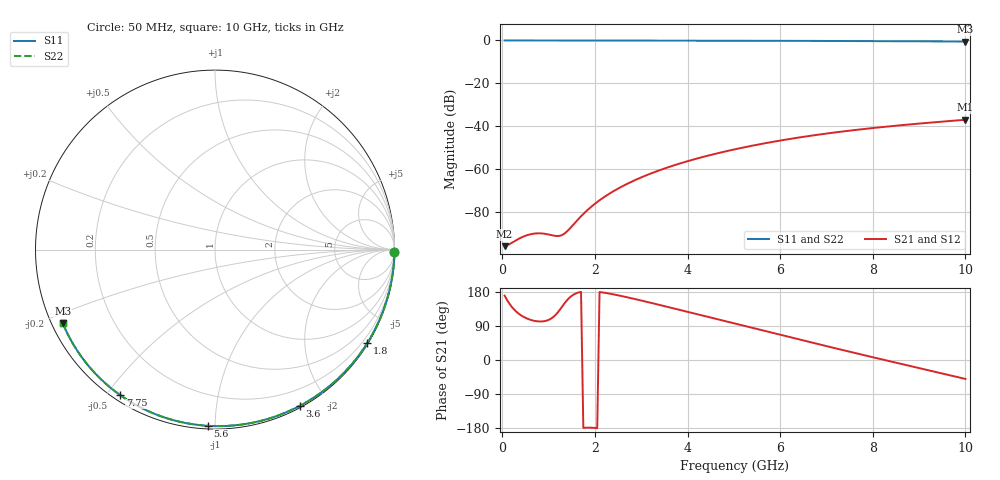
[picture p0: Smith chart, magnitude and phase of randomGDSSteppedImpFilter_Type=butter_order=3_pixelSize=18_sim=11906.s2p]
! freq	dB(S11)	phase(S11)	dB(S12)	phase(S12)
!  dB(S21)	phase(S21)	dB(S22)	phase(S22)
!S-par simulation data
#  GHz  S  DB  R 50
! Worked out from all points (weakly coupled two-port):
!   200 points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, 50 MHz to 10 GHz, reference 50 ohm
!   highest |S21| = -36.90 dB at 10 GHz (marker M1); lowest = -95.7 dB at 50 MHz (marker M2)
!   lowest |S11| = -0.5 dB at 10 GHz (marker M3), VSWR 33.69, Z = 1.56 - j11.4 ohm
!   |S11| at or under -10 dB: nowhere
!   |S22| runs from -0.5 to 0.0 dB; largest |S21 - S12| = 0
!   S11 on the Smith chart (normalised r, x): 50 MHz: open; 1.8 GHz: 0.03, -3.53; 3.6 GHz: 0.02, -1.68; 5.6 GHz: 0.02, -0.96; 7.75 GHz: 0.02, -0.54; 10 GHz: 0.03, -0.23
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0.05  -0.00 -0.9  -95.69 169.8  -95.69 169.8  -0.00 -0.9
0.45  -0.01 -8.0  -91.28 114.5  -91.28 114.5  -0.01 -8.0
0.85  -0.02 -15.1  -89.75 101.7  -89.75 101.7  -0.02 -15.1
1.3  -0.03 -23.0  -90.41 142.3  -90.41 142.3  -0.03 -23.0
1.75  -0.04 -30.8  -80.70 -179.2  -80.70 -179.2  -0.04 -30.8
1.8  -0.04 -31.6  -79.66 -178.6  -79.66 -178.6  -0.04 -31.6
1.95  -0.04 -34.2  -76.83 -178.8  -76.83 -178.8  -0.04 -34.2
2.1  -0.05 -36.8  -74.33 179.4  -74.33 179.4  -0.05 -36.8
2.45  -0.05 -42.7  -69.50 172.0  -69.50 172.0  -0.05 -42.7
2.65  -0.06 -46.0  -67.19 166.8  -67.19 166.8  -0.06 -46.0
2.9  -0.06 -50.2  -64.64 159.8  -64.64 159.8  -0.06 -50.2
3.4  -0.08 -58.4  -60.34 145.2  -60.34 145.2  -0.08 -58.4
3.6  -0.08 -61.6  -58.85 139.2  -58.85 139.2  -0.08 -61.6
4.3  -0.10 -72.7  -54.37 118.1  -54.37 118.1  -0.10 -72.7
5.05  -0.13 -84.2  -50.49 95.4  -50.49 95.4  -0.13 -84.2
5.6  -0.15 -92.4  -48.10 78.7  -48.10 78.7  -0.15 -92.4
6.15  -0.18 -100.4  -46.02 62.1  -46.02 62.1  -0.18 -100.4
6.7  -0.21 -108.3  -44.19 45.6  -44.19 45.6  -0.21 -108.3
7.75  -0.28 -123.0  -41.33 14.5  -41.33 14.5  -0.28 -123.0
8.35  -0.34 -131.3  -39.97 -2.8  -39.97 -2.8  -0.34 -131.3
9.2  -0.42 -143.0  -38.29 -27.0  -38.29 -27.0  -0.42 -143.0
10  -0.52 -154.2  -36.90 -49.9  -36.90 -49.9  -0.52 -154.2
